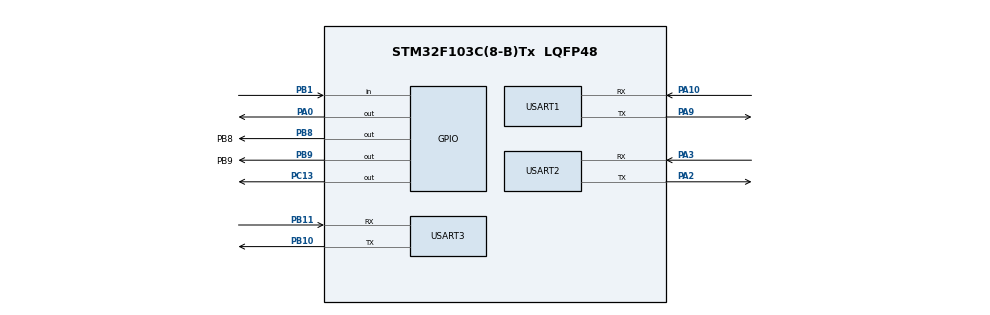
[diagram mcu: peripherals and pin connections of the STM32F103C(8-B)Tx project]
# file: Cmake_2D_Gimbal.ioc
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Dma.Request0=USART1_RX
Dma.USART1_RX.0.Direction=DMA_PERIPH_TO_MEMORY
Dma.USART1_RX.0.Instance=DMA1_Channel5
Dma.USART1_RX.0.MemDataAlignment=DMA_MDATAALIGN_BYTE
Dma.USART1_RX.0.MemInc=DMA_MINC_ENABLE
Dma.USART1_RX.0.Mode=DMA_CIRCULAR
Dma.USART1_RX.0.PeriphDataAlignment=DMA_PDATAALIGN_BYTE
Dma.USART1_RX.0.PeriphInc=DMA_PINC_DISABLE
Dma.USART1_RX.0.Priority=DMA_PRIORITY_LOW
Mcu.Family=STM32F1
Mcu.Name=STM32F103C(8-B)Tx
Mcu.Package=LQFP48
NVIC.DMA1_Channel5_IRQn=true\:0\:0\:false\:false\:true\:false\:true\:true
NVIC.PriorityGroup=NVIC_PRIORITYGROUP_4
NVIC.TIM3_IRQn=true\:0\:0\:false\:false\:true\:true\:true\:true
NVIC.USART1_IRQn=true\:0\:0\:false\:false\:true\:true\:true\:true
NVIC.USART2_IRQn=true\:0\:0\:false\:false\:false\:true\:false\:true
NVIC.USART3_IRQn=true\:0\:0\:false\:false\:false\:true\:false\:true
PA0-WKUP.Signal=GPIO_Output
PA10.Mode=Asynchronous
PA10.Signal=USART1_RX
PA13.Mode=Serial_Wire
PA13.Signal=SYS_JTMS-SWDIO
PA14.Mode=Serial_Wire
PA14.Signal=SYS_JTCK-SWCLK
PA2.Mode=Asynchronous
PA2.Signal=USART2_TX
PA3.Mode=Asynchronous
PA3.Signal=USART2_RX
PA9.Mode=Asynchronous
PA9.Signal=USART1_TX
PB1.Signal=GPIO_Input
PB10.Mode=Asynchronous
PB10.Signal=USART3_TX
PB11.Mode=Asynchronous
PB11.Signal=USART3_RX
PB8.GPIO_Label=PB8
PB8.GPIO_ModeDefaultOutputPP=GPIO_MODE_OUTPUT_OD
PB8.GPIO_PuPd=GPIO_NOPULL
PB8.Signal=GPIO_Output
PB9.GPIO_Label=PB9
PB9.GPIO_ModeDefaultOutputPP=GPIO_MODE_OUTPUT_OD
PB9.GPIO_PuPd=GPIO_NOPULL
PB9.Signal=GPIO_Output
PC13-TAMPER-RTC.Signal=GPIO_Output
PC14-OSC32_IN.Mode=LSE-External-Oscillator
PC14-OSC32_IN.Signal=RCC_OSC32_IN
PC15-OSC32_OUT.Mode=LSE-External-Oscillator
PC15-OSC32_OUT.Signal=RCC_OSC32_OUT
PD0-OSC_IN.Mode=HSE-External-Oscillator
PD0-OSC_IN.Signal=RCC_OSC_IN
PD1-OSC_OUT.Mode=HSE-External-Oscillator
PD1-OSC_OUT.Signal=RCC_OSC_OUT
ProjectManager.HeapSize=0x200
ProjectManager.StackSize=0x400
ProjectManager.TargetToolchain=CMake
RCC.AHBFreq_Value=72000000
RCC.APB1CLKDivider=RCC_HCLK_DIV2
RCC.APB1Freq_Value=36000000
RCC.APB1TimFreq_Value=72000000
RCC.APB2Freq_Value=72000000
RCC.APB2TimFreq_Value=72000000
RCC.HCLKFreq_Value=72000000
RCC.PLLMUL=RCC_PLL_MUL9
RCC.PLLSourceVirtual=RCC_PLLSOURCE_HSE
RCC.SYSCLKFreq_VALUE=72000000
RCC.SYSCLKSource=RCC_SYSCLKSOURCE_PLLCLK
RCC.USBFreq_Value=72000000
TIM3.Period=1000-1
TIM3.Prescaler=72-1
USART1.VirtualMode=VM_ASYNC
USART2.VirtualMode=VM_ASYNC
USART3.VirtualMode=VM_ASYNC
VP_TIM3_VS_ClockSourceINT.Mode=Internal
board=custom

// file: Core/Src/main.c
/* USER CODE BEGIN Header */
/**
 ******************************************************************************
 * @file           : main.c
 * @brief          : Main program body
 ******************************************************************************
 * @attention
 *
 * Copyright (c) 2025 STMicroelectronics.
 * All rights reserved.
 *
 * This software is licensed under terms that can be found in the LICENSE file
 * in the root directory of this software component.
 * If no LICENSE file comes with this software, it is provided AS-IS.
 *
 ******************************************************************************
 */
/*
大齿轮是100:10 -> RigthSocket 地址0x02 Down
小的是50:10 -> LeftSocket 地址0x01 Up
PB2->节光电门
*/
/* USER CODE END Header */
#include "main.h"
#include "dma.h"
#include "tim.h"
#include "usart.h"
#include "gpio.h"

/* USER CODE BEGIN Includes */
#include "Serial.h"
#include "Motor.h"
#include "OLED.h"
#include "Timer.h"
#include "math.h"
#include "Pid.h"
/* USER CODE END Includes */

/* USER CODE BEGIN PV */
extern volatile uint8_t DownMotorLocation_Array[6];
extern volatile int32_t DownMotorLocation;
extern volatile int8_t DownMotorLocateDataGetFlag; // 下面电机接收数据标志位
extern volatile uint8_t UpMotorLocation_Array[6];
extern volatile int32_t UpMotorLocation;
extern volatile int8_t UpMotorLocateDataGetFlag; // 上面电机接收数据标志位

struct UltraSerial Usart1, Usart2, Usart3; // 初始化3种串口
struct Pid UpMotor_Pid_Black , DownMotor_Pid_Black ,
           UpMotor_Pid_Green , DownMotor_Pid_Green ,
           UpMotor_Pid_Red , DownMotor_Pid_Red ;

extern volatile int oledupdate_state;
// extern volatile int TurningUpdate_state;
// extern volatile int TurningDowndate_state;
extern volatile int date_state;
volatile float DownLocation; // x轴当前位置
volatile float UpLocation;   // y轴当前位置

extern float UpCurrentAngle;   // 记录当前角度，用于归零
extern float DownCurrentAngle; // 记录当前角度，用于归零

/*提取串口读到的数据*/
extern float fRxData[8];
extern double dRxData[4];
extern int32_t iRxData[8];

extern UART_DAT dat_Uart1;
/*提取光电门读取到的电平*/
volatile uint8_t PhotoelectricSensorStatus;
/* USER CODE END PV */

void SystemClock_Config(void);

int main(void)
{

  /* MCU Configuration--------------------------------------------------------*/

  /* Reset of all peripherals, Initializes the Flash interface and the Systick. */
  HAL_Init();

  /* Configure the system clock */
  SystemClock_Config();

  /* Initialize all configured peripherals */
  MX_GPIO_Init();
  MX_DMA_Init();
  MX_USART1_UART_Init();
  MX_USART2_UART_Init();
  MX_USART3_UART_Init();
  MX_TIM3_Init();
  /* USER CODE BEGIN 2 */
    LL_USART_EnableIT_RXNE(USART1);
    LL_USART_EnableIT_RXNE(USART2);
    LL_USART_EnableIT_RXNE(USART3);

    HAL_TIM_Base_Start_IT(&htim3); // 使能定时器中断

    // LL_USART_ClearFlag_RXNE(USART2);
    // LL_USART_EnableIT_RXNE(USART2);

    OLED_Init();

    Serial_Registration(&Usart1, USART1);
    // Serial_SetLogLevel(&Usart1, LogInfo);
    Serial_Registration(&Usart2, USART2);
    Serial_SetLogLevel(&Usart2, LogShutDown); // PA2->RX PA3->TX CW顺时针 CCW逆时针 --->Down
    Serial_Registration(&Usart3, USART3);     // PB10 -> RX PB11 -> TX --->Up
    Serial_SetLogLevel(&Usart3, LogShutDown);

    PID_Init(&UpMotor_Pid_Black, 0.259f, 0.01f, 0.001f, 0.025f);
    PID_Init(&DownMotor_Pid_Black, 20.0f, 0.01f, 0.0f, 0.025f);
    PID_Init(&UpMotor_Pid_Green, 0.259f, 0.01f, 0.001f, 0.025f);
    PID_Init(&DownMotor_Pid_Green, 20.0f, 0.01f, 0.0f, 0.025f);
    PID_Init(&UpMotor_Pid_Red, 0.259f, 0.01f, 0.001f, 0.025f);
    PID_Init(&DownMotor_Pid_Red, 20.0f, 0.01f, 0.0f, 0.025f);

    uint8_t Header[] = {0xAA, 0x55};      // 包头
    float Data[2] = {723.2231, 412.4326}; // 3FA3D70A 4048F5C3
    UartVarInit();
    InitHardUart();
    // Serial_PackTranAgrDecide(&Usart1, 2, Header);
    // Serial_SendPacket_float(&Usart1, 2, &Data, 0x01);
    static int Turnstate = 0, avoid = 0;
    // Emm_V5_Pos_UpControl(&Usart1, 0x01, 0x01, 1850, 0, 800, false, false);
    // Serial_SendPacket_float(&Usart1 , 1 , Data , 0xFF );
    // AA 55 FF FF 03 04 C3 F5 48 40 FF
  /* USER CODE END 2 */

  /* Infinite loop */
  /* USER CODE BEGIN WHILE */

    while (1)
    {
        if(HAL_GPIO_ReadPin( GPIOB,GPIO_PIN_1 ) == GPIO_PIN_RESET)//低电平有球
        {
            PhotoelectricSensorStatus = 1;
        }
        else if(HAL_GPIO_ReadPin( GPIOB,GPIO_PIN_1 ) == GPIO_PIN_SET)//高电平无球
        {
            PhotoelectricSensorStatus = 0;
        }
        OLED_ShowNum( 0 , 32 , PhotoelectricSensorStatus , 2 , OLED_6X8);
        // 发送字符串

        if (dat_Uart1.FLG)
        {
            Serial_DataDeal();
            OLED_ShowFloatNum(0, 56, fRxData[0], 3, 4, OLED_6X8);
            OLED_ShowFloatNum(64, 56, fRxData[1], 3, 4, OLED_6X8);

        }

        OLED_ShowHexNum(0, 0, DownMotorLocation_Array[0], 2, OLED_6X8);
        OLED_ShowHexNum(18, 0, DownMotorLocation_Array[1], 2, OLED_6X8);
        OLED_ShowHexNum(36, 0, DownMotorLocation_Array[2], 2, OLED_6X8);
        OLED_ShowHexNum(54, 0, DownMotorLocation_Array[3], 2, OLED_6X8);
        OLED_ShowHexNum(72, 0, DownMotorLocation_Array[4], 2, OLED_6X8);
        OLED_ShowHexNum(90, 0, DownMotorLocation_Array[5], 2, OLED_6X8);

        OLED_ShowHexNum(0, 8, UpMotorLocation_Array[0], 2, OLED_6X8);
        OLED_ShowHexNum(18, 8, UpMotorLocation_Array[1], 2, OLED_6X8);
        OLED_ShowHexNum(36, 8, UpMotorLocation_Array[2], 2, OLED_6X8);
        OLED_ShowHexNum(54, 8, UpMotorLocation_Array[3], 2, OLED_6X8);
        OLED_ShowHexNum(72, 8, UpMotorLocation_Array[4], 2, OLED_6X8);
        OLED_ShowHexNum(90, 8, UpMotorLocation_Array[5], 2, OLED_6X8);

        if (DownMotorLocateDataGetFlag == 1)
        {
            DownMotorLocateDataGetFlag = 0;

            if (DownMotorLocation_Array[0] == 0x00)
            {
                DownLocation = (DownMotorLocation * 360) / 65536 / 10;
            }
            else if (DownMotorLocation_Array[0] == 0x01)
            {
                DownLocation = -(DownMotorLocation * 360) / 65536 / 10;
            }

            OLED_ShowFloatNum(0, 16, DownLocation, 8, 2, OLED_6X8);
        }

        if (UpMotorLocateDataGetFlag == 1)
        {
            UpMotorLocateDataGetFlag = 0;

            if (UpMotorLocation_Array[0] == 0x00)
            {
                UpLocation = (UpMotorLocation * 360) / 65536 / 5;
            }
            else if (UpMotorLocation_Array[0] == 0x01)
            {
                UpLocation = -(UpMotorLocation * 360) / 65536 / 5;
            }

            OLED_ShowFloatNum(0, 24, UpLocation, 8, 2, OLED_6X8);
        }

        /*----------------------------中断控制部分----------------------------*/
        if (oledupdate_state == 1) // 屏幕刷新以及电机数据部分
        {
            oledupdate_state = 0;
            Emm_V5_GetCurrentLocation(&Usart2, DownAdr);

            Emm_V5_GetCurrentLocation(&Usart3, UpAdr);
            OLED_Update();
        }
        if (date_state == 1)
        {
            date_state = 0;
            Motor_TargetAngleControl();
        }

    /* USER CODE END WHILE */

    }
}

void SystemClock_Config(void)
{
  LL_FLASH_SetLatency(LL_FLASH_LATENCY_2);
  while(LL_FLASH_GetLatency()!= LL_FLASH_LATENCY_2)
  {
  }
  LL_RCC_HSE_Enable();

   /* Wait till HSE is ready */
  while(LL_RCC_HSE_IsReady() != 1)
  {

  }
  LL_RCC_PLL_ConfigDomain_SYS(LL_RCC_PLLSOURCE_HSE_DIV_1, LL_RCC_PLL_MUL_9);
  LL_RCC_PLL_Enable();

   /* Wait till PLL is ready */
  while(LL_RCC_PLL_IsReady() != 1)
  {

  }
  LL_RCC_SetAHBPrescaler(LL_RCC_SYSCLK_DIV_1);
  LL_RCC_SetAPB1Prescaler(LL_RCC_APB1_DIV_2);
  LL_RCC_SetAPB2Prescaler(LL_RCC_APB2_DIV_1);
  LL_RCC_SetSysClkSource(LL_RCC_SYS_CLKSOURCE_PLL);

   /* Wait till System clock is ready */
  while(LL_RCC_GetSysClkSource() != LL_RCC_SYS_CLKSOURCE_STATUS_PLL)
  {

  }
  LL_SetSystemCoreClock(72000000);

   /* Update the time base */
  if (HAL_InitTick (TICK_INT_PRIORITY) != HAL_OK)
  {
    Error_Handler();
  }
}

void Error_Handler(void)
{
    __disable_irq();
    while (1)
    {
    }
}
